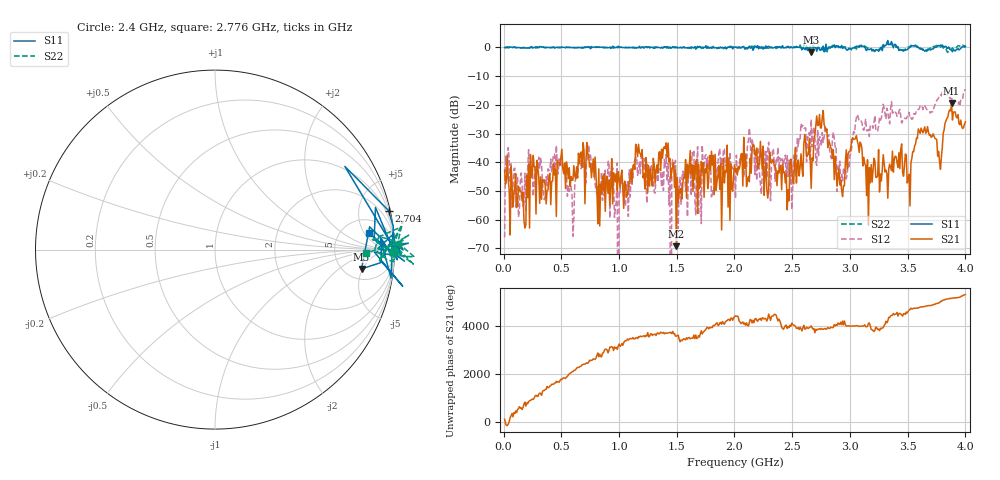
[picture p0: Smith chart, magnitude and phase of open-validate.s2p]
!Created with skrf (http://scikit-rf.org).
# GHz S DB R 50.0
!freq dBS11 angS11 dBS21 angS21 dBS12 angS12 dBS22 angS22
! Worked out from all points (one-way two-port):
!   500 points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, 8.998 MHz to 4 GHz, reference 50 ohm
!   highest |S21| = -19.39 dB at 3.88 GHz (marker M1); lowest = -69.3 dB at 1.497 GHz (marker M2)
!   lowest |S11| = -1.7 dB at 2.664 GHz (marker M3), VSWR 10.33, Z = 356 - j238 ohm
!   |S11| at or under -10 dB: nowhere
!   |S22| runs from -1.7 to 2.1 dB; largest |S21 - S12| = 0.19
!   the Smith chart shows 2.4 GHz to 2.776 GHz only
!   S11 on the Smith chart (normalised r, x): 2.4 GHz: open; 2.704 GHz: 0.36, +9.02; 2.776 GHz: 9, +6
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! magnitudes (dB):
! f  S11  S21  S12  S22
! 8.998 MHz  0.0  -42.8  -66.2  0.1
! 32.99 MHz  0.3  -37.7  -37.4  0.0
! 177 MHz  0.0  -60.6  -53.9  -0.1
! 248.9 MHz  0.1  -44.0  -42.6  -0.2
! 440.9 MHz  0.1  -44.4  -37.2  -0.2
! 600.9 MHz  0.0  -46.2  -65.8  0.0
! 680.8 MHz  0.1  -41.8  -36.9  -0.2
! 976.8 MHz  0.1  -44.0  -53.4  0.0
! 1.345 GHz  0.0  -36.7  -42.4  0.1
! 1.497 GHz  0.1  -69.3  -48.1  -0.1
! 2.008 GHz  0.2  -43.4  -52.6  0.1
! 2.4 GHz  0.0  -41.1  -39.5  0.0
! 2.664 GHz  -1.7  -49.1  -25.1  -0.7
! 2.672 GHz  -1.2  -38.5  -34.6  -0.4
! 2.704 GHz  -0.1  -27.0  -39.8  0.1
! 2.776 GHz  -1.3  -26.9  -31.5  -1.5
! 2.928 GHz  0.7  -49.8  -44.3  0.2
! 3.04 GHz  0.1  -32.0  -29.7  -0.1
! 3.336 GHz  0.9  -42.2  -24.9  0.9
! 3.776 GHz  0.6  -39.7  -17.2  0.4
! 3.88 GHz  -1.0  -19.4  -18.1  -0.7
! 4 GHz  0.4  -25.9  -14.5  0.0
